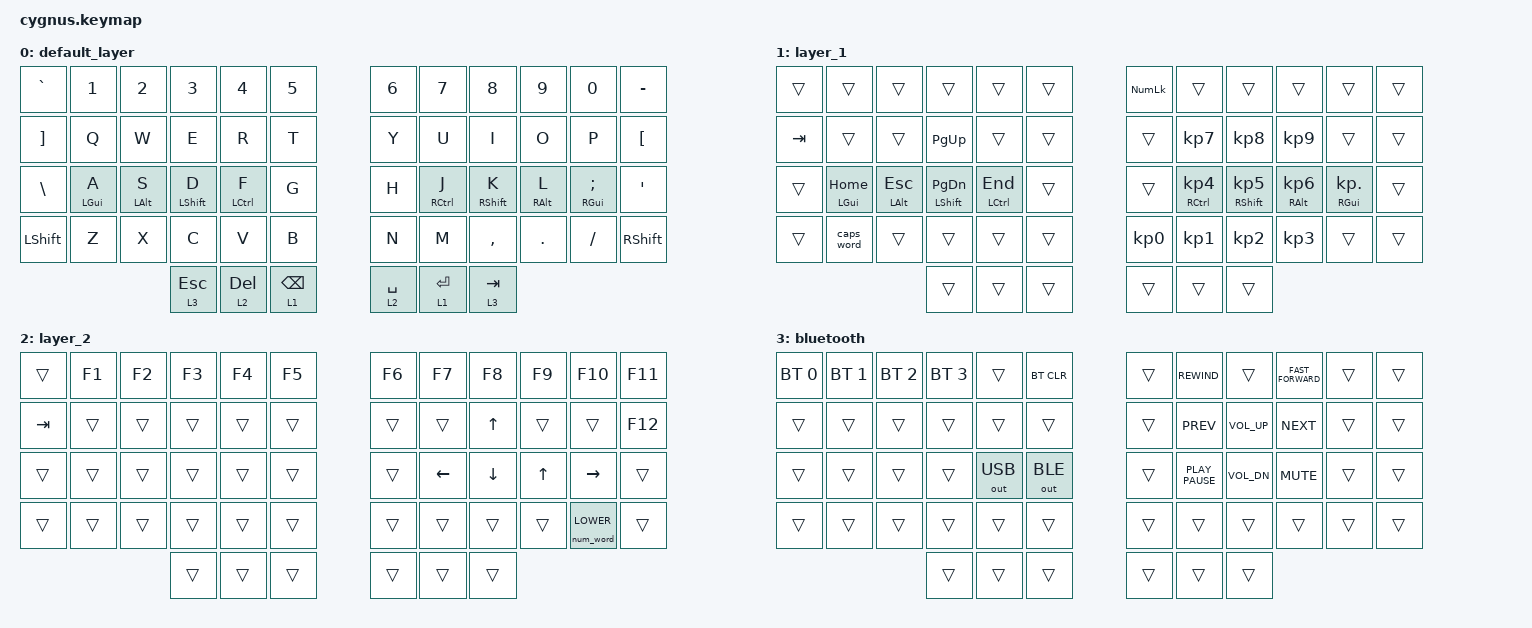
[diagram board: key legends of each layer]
#include <behaviors.dtsi>
#include <dt-bindings/zmk/bt.h>
#include <dt-bindings/zmk/keys.h>
#include <dt-bindings/zmk/outputs.h>
#include "zmk-helpers/helper.h"
#include <behaviors/num_word.dtsi> // requires auto-layer module

#include "key-label.h"                                                                                          // key-position labels
#define KEYS_L LN0 LN1 LN2 LN3 LN4 LN5 LT0 LT1 LT2 LT3 LT4 LT5 LM0 LM1 LM2 LM3 LM4 LM5 LB0 LB1 LB2 LB3 LB4 LB5  // left-hand keys
#define KEYS_R RN0 RN1 RN2 RN3 RN4 RN5 RT0 RT1 RT2 RT3 RT4 RT5 RM0 RM1 RM2 RM3 RM4 RM5 RB0 RB1 RB2 RB3 RB4 RB5  // right-hand keys
#define THUMBS LH2 LH1 LH0 RH0 RH1 RH2                                                                          // thumb keys

#define DEFAULT 0
#define LOWER 1
#define RAISE 2
#define BLUETOOTH 3

#define QUICK_TAP_MS 175

#define MAKE_HRM(NAME, HOLD, TAP, TRIGGER_POS) \
    ZMK_HOLD_TAP(NAME, \
        flavor = "balanced"; \
        tapping-term-ms = <280>; \
        quick-tap-ms = <QUICK_TAP_MS>; \
        require-prior-idle-ms = <150>; \
        bindings = <HOLD>, <TAP>; \
        hold-trigger-key-positions = <TRIGGER_POS>; \
        hold-trigger-on-release; \
    )
MAKE_HRM(hml, &kp, &kp, KEYS_R THUMBS)  // left-hand HRMs
MAKE_HRM(hmr, &kp, &kp, KEYS_L THUMBS)  // right-hand HRMs


/ {
    combos {
        compatible = "zmk,combos";

        bluetooth {
            bindings = <&mo BLUETOOTH>;
            key-positions = <LH2 RH2>;
        };
    };

    keymap {
        compatible = "zmk,keymap";

        default_layer {
            // -----------------------------------------------------------------------------------------
            // |  ESC |  1  |  2  |  3  |  4  |  5  |   |  6  |  7   |  8  |  9  |  0  |  ?   |
            // |  TAB |  Q  |  W  |  E  |  R  |  T  |   |  Y  |  U   |  I  |  O  |  P  | BKSP |
            // | CTRL |  A  |  S  |  D  |  F  |  G  |   |  H  |  J   |  K  |  L  |  ;  |  '   |
            // | SHFT |  Z  |  X  |  C  |  V  |  B  |   |  N  |  M   |  ,  |  .  |  /  | ESC  |
            //                    | GUI | LWR | SPC |   | ENT | RSE  | ALT |

            bindings = <
&kp GRAVE          &kp N1        &kp N2       &kp N3         &kp N4         &kp N5             &kp N6       &kp N7        &kp N8        &kp N9       &kp N0           &kp MINUS
&kp RIGHT_BRACKET  &kp Q         &kp W        &kp E          &kp R          &kp T              &kp Y        &kp U         &kp I         &kp O        &kp P            &kp LEFT_BRACKET
&kp BSLH           &hml LGUI A   &hml LALT S  &hml LSHFT D   &hml LCTRL F   &kp G              &kp H        &hmr RCTRL J  &hmr RSHFT K  &hmr RALT L  &hmr RGUI SEMI   &kp SQT
&kp LSHFT          &kp Z         &kp X        &kp C          &kp V          &kp B              &kp N        &kp M         &kp COMMA     &kp DOT      &kp SLASH        &kp RIGHT_SHIFT
                                              &lt 3 ESC      &lt 2 DELETE   &lt 1 BACKSPACE    &lt 2 SPACE  &lt 1 ENTER   &lt 3 TAB
            >;
        };

        layer_1 {
            // -----------------------------------------------------------------------------------------
            // |  TAB |  F1 |  F2 |  F3 |  F4 |  F5 |   |  F6 |  F7 |  F8 |  F9 | F10 | BKSP |
            // |  TAB |  1  |  2  |  3  |  4  |  5  |   |  6  |  7  |  8  |  9  |  0  | BKSP |
            // | BTCLR| BT1 | BT2 | BT3 | BT4 | BT5 |   | LFT | DWN |  UP | RGT |     |      |
            // | SHFT |     |     |     |     |     |   |     |     |     |     |     |      |
            //                    | GUI |     | SPC |   | ENT |     | ALT |

            bindings = <
&trans   &trans          &trans               &trans            &trans          &trans    &kp KP_NLCK  &trans            &trans            &trans           &trans            &trans
&kp TAB  &trans          &trans               &kp PAGE_UP       &trans          &trans    &trans       &kp KP_N7         &kp KP_N8         &kp KP_N9        &trans            &trans
&trans   &hml LGUI HOME  &hml LALT ESC  &hml  LSHFT PAGE_DOWN   &hml LCTRL END  &trans    &trans       &hmr RCTRL KP_N4  &hmr RSHFT KP_N5  &hmr RALT KP_N6  &hml RGUI KP_DOT  &trans
&trans   &caps_word      &trans               &trans            &trans          &trans    &kp KP_N0    &kp KP_N1         &kp KP_N2         &kp KP_N3        &trans            &trans
                                              &trans            &trans          &trans    &trans       &trans            &trans
            >;
        };

        layer_2 {
            // -----------------------------------------------------------------------------------------
            // |  TAB |  !  |  @  |  #  |  $  |  %  |   |  ^  |  &  |  *  |  (  |  )  | BKSP |
            // | CTRL |     |     |     |     |     |   |  -  |  =  |  [  |  ]  |  \  |  `   |
            // | SHFT |     |     |     |     |     |   |  _  |  +  |  {  |  }  | "|" |  ~   |
            //                    | GUI |     | SPC |   | ENT |     | ALT |

            bindings = <
&trans   &kp F1  &kp F2  &kp F3  &kp F4  &kp F5  &kp F6  &kp F7          &kp F8          &kp F9        &kp F10          &kp F11
&kp TAB  &trans  &trans  &trans  &trans  &trans  &trans  &trans          &kp UP_ARROW    &trans        &trans           &kp F12
&trans   &trans  &trans  &trans  &trans  &trans  &trans  &kp LEFT_ARROW  &kp DOWN_ARROW  &kp UP_ARROW  &kp RIGHT_ARROW  &trans
&trans   &trans  &trans  &trans  &trans  &trans  &trans  &trans          &trans          &trans        &num_word LOWER  &trans
                         &trans  &trans  &trans  &trans  &trans          &trans
            >;
        };

        bluetooth {
            bindings = <
&bt BT_SEL 0  &bt BT_SEL 1  &bt BT_SEL 2  &bt BT_SEL 3  &trans        &bt BT_CLR    &trans  &kp C_REWIND      &trans        &kp C_FAST_FORWARD  &trans  &trans
&trans        &trans        &trans        &trans        &trans        &trans        &trans  &kp K_PREV        &kp C_VOL_UP  &kp K_NEXT          &trans  &trans
&trans        &trans        &trans        &trans        &out OUT_USB  &out OUT_BLE  &trans  &kp K_PLAY_PAUSE  &kp C_VOL_DN  &kp K_MUTE          &trans  &trans
&trans        &trans        &trans        &trans        &trans        &trans        &trans  &trans            &trans        &trans              &trans  &trans
                                          &trans        &trans        &trans        &trans  &trans            &trans
            >;
        };
    };
};
